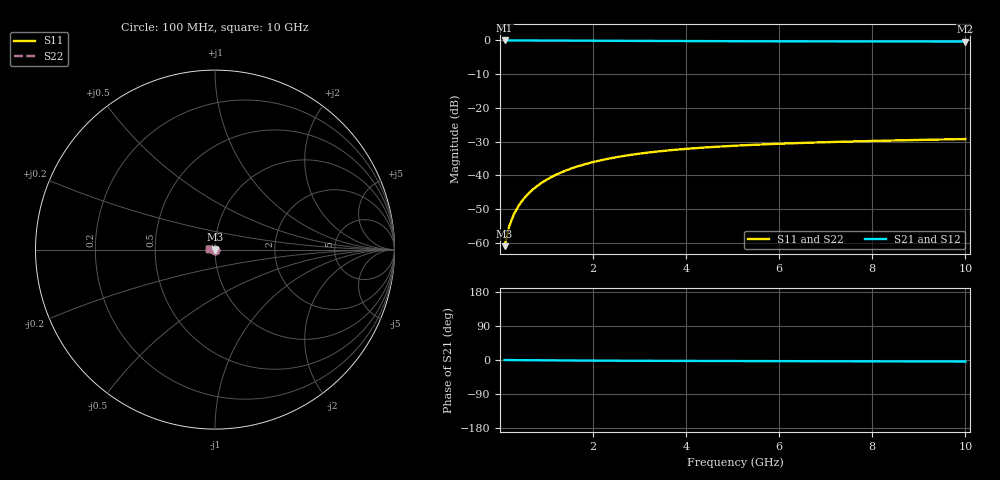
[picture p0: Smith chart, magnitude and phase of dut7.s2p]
! Touchstone file exported from HFSS 2024.1.0
!  File:  C:/UserFiles/LocalFiles/RDL_TSV_Batchsim/temp_TSV1_7_1779367710.aedt
!  Generated:  08:53:53 PM May 21, 2026
!  Design:  TSV1
!  Project:  temp_TSV1_7_1779367710
!  Setup:  Setup1
!  Solution:  Sweep
! Variables:
!  dtsv = 9.18um
!  hbump = 3um
!  htsv = 60.91um
!  lrdl = 252.1521522um
!  p = 40
!  p1 = 45.67um
!  t = 500um
!  trdl = 3um
!  wrdl = 24.89489489um
# GHz S MA R 50.000000
! Terminal data exported
! Port[1] = TSV22_T1
! Port[2] = TSV22_T2
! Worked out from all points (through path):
!   100 points, 100 MHz to 10 GHz, reference 50 ohm
!   highest |S21| = 0.00 dB at 100 MHz (marker M1); lowest = -0.3 dB at 10 GHz (marker M2)
!   lowest |S11| = -61.0 dB at 100 MHz (marker M3), VSWR 1.00, Z = 50 - j0.0881 ohm
!   |S11| at or under -10 dB: start of sweep to end of sweep
!   |S22| runs from -61.0 to -29.2 dB; largest |S21 - S12| = 1.4e-14
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0.1  0.0008888 -82.2  0.9998 -0.1  0.9998 -0.1  0.0008888 -82.2
! Gamma 0 0 0 0
! Port Impedance 50 0 50 0
0.2  0.001766 -88.4  0.9997 -0.2  0.9997 -0.2  0.001766 -88.4
0.3  0.002648 -91.8  0.9996 -0.3  0.9996 -0.3  0.002648 -91.8
0.4  0.003525 -94.3  0.9994 -0.4  0.9994 -0.4  0.003525 -94.3
0.5  0.004395 -96.6  0.9991 -0.5  0.9991 -0.5  0.004395 -96.6
0.6  0.005256 -98.6  0.9988 -0.5  0.9988 -0.5  0.005256 -98.6
0.7  0.006107 -100.6  0.9985 -0.6  0.9985 -0.6  0.006107 -100.6
0.8  0.006945 -102.5  0.9981 -0.7  0.9981 -0.7  0.006945 -102.5
0.9  0.007769 -104.3  0.9977 -0.8  0.9977 -0.8  0.007769 -104.3
1.1  0.009373 -107.8  0.9967 -1.0  0.9967 -1.0  0.009373 -107.8
1.4  0.01165 -112.8  0.995 -1.2  0.995 -1.2  0.01165 -112.8
1.6  0.01308 -116.0  0.9938 -1.3  0.9938 -1.3  0.01308 -116.0
1.8  0.01443 -119.0  0.9925 -1.5  0.9925 -1.5  0.01443 -119.0
2.1  0.0163 -123.3  0.9906 -1.6  0.9906 -1.6  0.0163 -123.3
2.5  0.01854 -128.7  0.9879 -1.9  0.9879 -1.9  0.01854 -128.7
2.9  0.02049 -133.6  0.9854 -2.0  0.9854 -2.0  0.02049 -133.6
3.4  0.02258 -139.2  0.9824 -2.2  0.9824 -2.2  0.02258 -139.2
4.2  0.02526 -147.0  0.9782 -2.5  0.9782 -2.5  0.02526 -147.0
5.1  0.02757 -154.4  0.9744 -2.8  0.9744 -2.8  0.02757 -154.4
6.7  0.03052 -165.0  0.9695 -3.2  0.9695 -3.2  0.03052 -165.0
8.4  0.03277 -174.1  0.9661 -3.6  0.9661 -3.6  0.03277 -174.1
10  0.03448 178.8  0.9638 -4.0  0.9638 -4.0  0.03448 178.8
